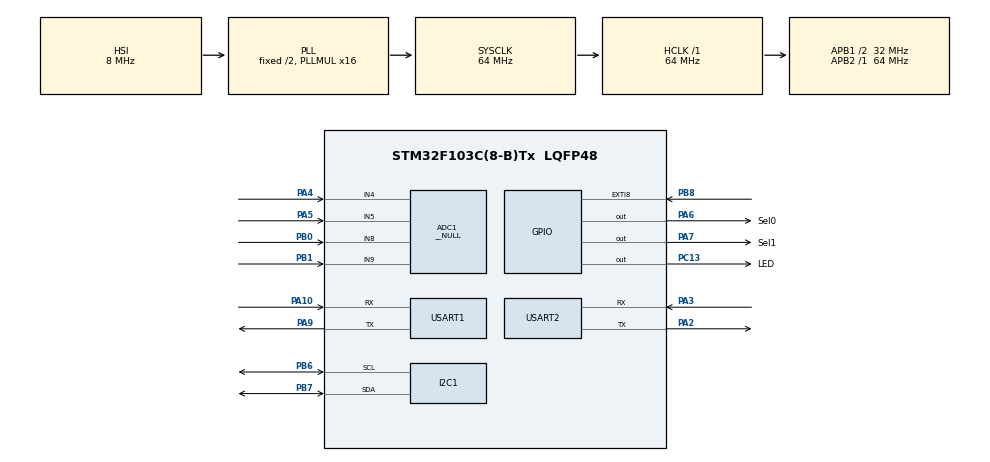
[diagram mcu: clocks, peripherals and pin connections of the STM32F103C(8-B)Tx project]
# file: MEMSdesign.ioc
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ADC1.Channel-0\#ChannelRegularConversion=ADC_CHANNEL_4
ADC1.Channel-1\#ChannelRegularConversion=ADC_CHANNEL_5
ADC1.Channel-2\#ChannelRegularConversion=ADC_CHANNEL_8
ADC1.Channel-3\#ChannelRegularConversion=ADC_CHANNEL_9
ADC1.ExternalTrigConv=ADC_EXTERNALTRIGCONV_T3_TRGO
ADC1.Mode=__NULL
ADC1.NbrOfConversion=4
ADC1.NbrOfConversionFlag=1
ADC1.Rank-0\#ChannelRegularConversion=1
ADC1.Rank-1\#ChannelRegularConversion=2
ADC1.Rank-2\#ChannelRegularConversion=3
ADC1.Rank-3\#ChannelRegularConversion=4
ADC1.SamplingTime-0\#ChannelRegularConversion=ADC_SAMPLETIME_1CYCLE_5
ADC1.SamplingTime-1\#ChannelRegularConversion=ADC_SAMPLETIME_1CYCLE_5
ADC1.SamplingTime-2\#ChannelRegularConversion=ADC_SAMPLETIME_1CYCLE_5
ADC1.SamplingTime-3\#ChannelRegularConversion=ADC_SAMPLETIME_1CYCLE_5
ADC1.master=1
Dma.ADC1.2.Direction=DMA_PERIPH_TO_MEMORY
Dma.ADC1.2.Instance=DMA1_Channel1
Dma.ADC1.2.MemDataAlignment=DMA_MDATAALIGN_HALFWORD
Dma.ADC1.2.MemInc=DMA_MINC_ENABLE
Dma.ADC1.2.Mode=DMA_NORMAL
Dma.ADC1.2.PeriphDataAlignment=DMA_PDATAALIGN_HALFWORD
Dma.ADC1.2.PeriphInc=DMA_PINC_DISABLE
Dma.ADC1.2.Priority=DMA_PRIORITY_HIGH
Dma.I2C1_RX.0.Direction=DMA_PERIPH_TO_MEMORY
Dma.I2C1_RX.0.Instance=DMA1_Channel7
Dma.I2C1_RX.0.MemDataAlignment=DMA_MDATAALIGN_BYTE
Dma.I2C1_RX.0.MemInc=DMA_MINC_ENABLE
Dma.I2C1_RX.0.Mode=DMA_NORMAL
Dma.I2C1_RX.0.PeriphDataAlignment=DMA_PDATAALIGN_BYTE
Dma.I2C1_RX.0.PeriphInc=DMA_PINC_DISABLE
Dma.I2C1_RX.0.Priority=DMA_PRIORITY_VERY_HIGH
Dma.I2C1_TX.1.Direction=DMA_MEMORY_TO_PERIPH
Dma.I2C1_TX.1.Instance=DMA1_Channel6
Dma.I2C1_TX.1.MemDataAlignment=DMA_MDATAALIGN_BYTE
Dma.I2C1_TX.1.MemInc=DMA_MINC_ENABLE
Dma.I2C1_TX.1.Mode=DMA_NORMAL
Dma.I2C1_TX.1.PeriphDataAlignment=DMA_PDATAALIGN_BYTE
Dma.I2C1_TX.1.PeriphInc=DMA_PINC_DISABLE
Dma.I2C1_TX.1.Priority=DMA_PRIORITY_VERY_HIGH
Dma.Request0=I2C1_RX
Dma.Request1=I2C1_TX
Dma.Request2=ADC1
Dma.Request3=USART1_TX
Dma.USART1_TX.3.Direction=DMA_MEMORY_TO_PERIPH
Dma.USART1_TX.3.Instance=DMA1_Channel4
Dma.USART1_TX.3.MemDataAlignment=DMA_MDATAALIGN_BYTE
Dma.USART1_TX.3.MemInc=DMA_MINC_ENABLE
Dma.USART1_TX.3.Mode=DMA_NORMAL
Dma.USART1_TX.3.PeriphDataAlignment=DMA_PDATAALIGN_BYTE
Dma.USART1_TX.3.PeriphInc=DMA_PINC_DISABLE
Dma.USART1_TX.3.Priority=DMA_PRIORITY_LOW
I2C1.I2C_Mode=I2C_Fast
I2C1.OwnAddress=0x0A
Mcu.Family=STM32F1
Mcu.Name=STM32F103C(8-B)Tx
Mcu.Package=LQFP48
NVIC.DMA1_Channel1_IRQn=true\:0\:0\:false\:false\:true\:false\:true\:true
NVIC.DMA1_Channel4_IRQn=true\:0\:0\:false\:false\:true\:false\:true\:true
NVIC.DMA1_Channel6_IRQn=true\:5\:0\:true\:false\:true\:false\:true\:true
NVIC.DMA1_Channel7_IRQn=true\:5\:0\:true\:false\:true\:false\:true\:true
NVIC.EXTI9_5_IRQn=true\:5\:0\:true\:false\:true\:true\:true\:true
NVIC.I2C1_ER_IRQn=true\:5\:0\:true\:false\:true\:true\:true\:true
NVIC.I2C1_EV_IRQn=true\:5\:0\:true\:false\:true\:true\:true\:true
NVIC.PriorityGroup=NVIC_PRIORITYGROUP_4
NVIC.TIM1_UP_IRQn=true\:0\:0\:false\:false\:true\:true\:true\:true
NVIC.USART1_IRQn=true\:0\:0\:true\:false\:true\:true\:true\:true
PA10.GPIO_PuPd=GPIO_PULLUP
PA10.Mode=Asynchronous
PA10.Signal=USART1_RX
PA2.Mode=Asynchronous
PA2.Signal=USART2_TX
PA3.Mode=Asynchronous
PA3.Signal=USART2_RX
PA4.Signal=ADCx_IN4
PA5.Signal=ADCx_IN5
PA6.GPIO_Label=Sel0
PA6.Signal=GPIO_Output
PA7.GPIO_Label=Sel1
PA7.Signal=GPIO_Output
PA9.Mode=Asynchronous
PA9.Signal=USART1_TX
PB0.Signal=ADCx_IN8
PB1.Signal=ADCx_IN9
PB6.Mode=I2C
PB6.Signal=I2C1_SCL
PB7.Mode=I2C
PB7.Signal=I2C1_SDA
PB8.Signal=GPXTI8
PC13-TAMPER-RTC.GPIO_Label=LED
PC13-TAMPER-RTC.Signal=GPIO_Output
PC14-OSC32_IN.Mode=LSE-External-Oscillator
PC14-OSC32_IN.Signal=RCC_OSC32_IN
PC15-OSC32_OUT.Mode=LSE-External-Oscillator
PC15-OSC32_OUT.Signal=RCC_OSC32_OUT
PD0-OSC_IN.Signal=RCC_OSC_IN
PD1-OSC_OUT.Signal=RCC_OSC_OUT
ProjectManager.HeapSize=0x200
ProjectManager.StackSize=0x400
ProjectManager.TargetToolchain=STM32CubeIDE
RCC.ADCPresc=RCC_ADCPCLK2_DIV6
RCC.AHBFreq_Value=64000000
RCC.APB1CLKDivider=RCC_HCLK_DIV2
RCC.APB1Freq_Value=32000000
RCC.APB1TimFreq_Value=64000000
RCC.APB2Freq_Value=64000000
RCC.APB2TimFreq_Value=64000000
RCC.HCLKFreq_Value=64000000
RCC.PLLMUL=RCC_PLL_MUL16
RCC.SYSCLKFreq_VALUE=64000000
RCC.SYSCLKSource=RCC_SYSCLKSOURCE_PLLCLK
RCC.USBFreq_Value=64000000
SH.ADCx_IN4.0=ADC1_IN4,IN4
SH.ADCx_IN5.0=ADC1_IN5,IN5
SH.ADCx_IN8.0=ADC1_IN8,IN8
SH.ADCx_IN9.0=ADC1_IN9,IN9
TIM1.AutoReloadPreload=TIM_AUTORELOAD_PRELOAD_ENABLE
TIM1.Period=199
TIM1.Prescaler=6399
TIM3.AutoReloadPreload=TIM_AUTORELOAD_PRELOAD_DISABLE
TIM3.Period=9
TIM3.Prescaler=6399
TIM3.TIM_MasterOutputTrigger=TIM_TRGO_UPDATE
USART1.VirtualMode=VM_ASYNC
USART2.VirtualMode=VM_ASYNC
VP_CRC_VS_CRC.Mode=CRC_Activate
VP_SYS_VS_ND.Mode=No_Debug
VP_TIM1_VS_ClockSourceINT.Mode=Internal
VP_TIM3_VS_ClockSourceINT.Mode=Internal
board=custom

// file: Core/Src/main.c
/* USER CODE BEGIN Header */
/**
  ******************************************************************************
  * @file           : main.c
  * @brief          : Main program body
  ******************************************************************************
  * @attention
  *
  * Copyright (c) 2025 STMicroelectronics.
  * All rights reserved.
  *
  * This software is licensed under terms that can be found in the LICENSE file
  * in the root directory of this software component.
  * If no LICENSE file comes with this software, it is provided AS-IS.
  *
  ******************************************************************************
  */
/* USER CODE END Header */
#include "main.h"
#include "adc.h"
#include "crc.h"
#include "dma.h"
#include "i2c.h"
#include "tim.h"
#include "usart.h"
#include "gpio.h"

/* USER CODE BEGIN Includes */
//#define PRINT_INSTAND_SWJ
#include "STM32F1_porting.h"
#include "mpu6050_SL.h"

#include "stdio.h"
#include "string.h"

/* mpu6050 DMP库  begin */
#include "eMPL_outputs.h"
#include "inv_mpu.h"
#include "inv_mpu_dmp_motion_driver.h"
#include "invensense.h"
#include "invensense_adv.h"
#include "log.h"
#include "mltypes.h"
#include "mpu.h"
#include "packet.h"

extern void get_ms_user(unsigned long *count); //定义在inv_mpu.c
#define get_tick_count get_ms_user
/* mpu6050 DMP库  end */

/* USER CODE END Includes */

/* USER CODE BEGIN PD */
#ifdef __GNUC__
/* With GCC, small printf (option LD Linker->Libraries->Small printf
   set to 'Yes') calls __io_putchar() */
#define PUTCHAR_PROTOTYPE int __io_putchar(int ch)
#else
#define PUTCHAR_PROTOTYPE int fputc(int ch, FILE *f)
#endif /* __GNUC__ */

/**
  * @brief  Retargets the C library printf function to the USART.
  * @param  None
  * @retval None
  */
PUTCHAR_PROTOTYPE
{
  /* Place your implementation of fputc here */
  /* e.g. write a character to the USART3 and Loop until the end of transmission */
  HAL_UART_Transmit(&huart1, (uint8_t *)&ch, 1, 0xFFFF);

  return ch;
}
/* USER CODE END PD */

/* USER CODE BEGIN PM */
/* Data read from MPL. */
#define PRINT_ACCEL (0x01)
#define PRINT_GYRO (0x02)
#define PRINT_QUAT (0x04)
#define PRINT_COMPASS (0x08)
#define PRINT_EULER (0x10)
#define PRINT_ROT_MAT (0x20)
#define PRINT_HEADING (0x40)
#define PRINT_PEDO (0x80)
#define PRINT_LINEAR_ACCEL (0x100)
#define PRINT_GRAVITY_VECTOR (0x200)

#define BYTE0(dwTemp) (*(char *)(&dwTemp))
#define BYTE1(dwTemp) (*((char *)(&dwTemp) + 1))
#define BYTE2(dwTemp) (*((char *)(&dwTemp) + 2))
#define BYTE3(dwTemp) (*((char *)(&dwTemp) + 3))

/* USER CODE END PM */

/* USER CODE BEGIN PV */
extern struct inv_sensor_cal_t sensors;
volatile uint32_t hal_timestamp = 0;

volatile int pitch = 0;
volatile int roll = 0;
volatile int yaw = 0;

uint16_t adc_buffer[4];

char data_receive[32];
uint8_t rx_buf;

uint8_t data_to_send[49];
/* USER CODE END PV */

void SystemClock_Config(void);
/* USER CODE BEGIN PFP */

void uart_receive_start()
{
	HAL_UART_Receive_IT(&huart1,&rx_buf,1);
	//hdma_rx->Instance->CCR &= ~DMA_CCR_HTIE;
}

void HAL_UART_RxCpltCallback(UART_HandleTypeDef *huart)
{
	if (huart != &huart1)
		return;
	static uint8_t uart1_rx_count = 0;
	if (uart1_rx_count >= 255)
	{
		uart1_rx_count = 0;
		memset(data_receive,0x00,sizeof(data_receive));
	}
	else
	{
		data_receive[uart1_rx_count++] = rx_buf;
		if((data_receive[uart1_rx_count - 1] == 0x0A) && (data_receive[uart1_rx_count - 2] == 0x0D))
		{
			if ((data_receive[0]=='s') && (data_receive[1]=='t') && (data_receive[2]=='a') && (data_receive[3]=='r') && (data_receive[4]=='t'))
			{
				HAL_TIM_Base_Start_IT(&htim1);
			}
			else if ((data_receive[0]=='s') && (data_receive[1]=='t') && (data_receive[2]=='o') && (data_receive[3]=='p'))
			{
				HAL_TIM_Base_Stop_IT(&htim1);
			}
			uart1_rx_count = 0;
			memset(data_receive,0x00,sizeof(data_receive));
		}

	}

	uart_receive_start();
}

/**
 * @brief  read euler angle from MPL
 */
static void read_from_mpl(void)
{
  long data[9];
  int8_t accuracy;
  unsigned long timestamp;

  if (inv_get_sensor_type_euler(data, &accuracy, (inv_time_t *)&timestamp))
  {
    pitch = data[0];
    roll = data[1];
    yaw = data[2];
  }
}

void ADC_Samp()
{
  //HAL_ADC_Start(&hadc2);
  HAL_ADC_Start_DMA(&hadc1,(uint32_t*) adc_buffer, 4);

}

void send_data()
{
	data_to_send[0] = 0xAB;
	// pitch
	for (int i = 0;i < 4; i++)
	{
		data_to_send[i+1] = (pitch >> (8*i)) & 0xFF;
	}

	// roll
	for (int i = 0;i < 4; i++)
	{
		data_to_send[i+5] = (roll >> (8*i)) & 0xFF;
	}

	// yaw
	for (int i = 0;i < 4; i++)
	{
		data_to_send[i+9] = (yaw >> (8*i)) & 0xFF;
	}

	uint32_t crc = HAL_CRC_Calculate(&hcrc,(uint32_t*)(data_to_send+1), 11);

	data_to_send[45] = crc & 0xFF;
	data_to_send[46] = (crc >> 8) & 0xFF;
	data_to_send[47] = (crc >> 16) & 0xFF;
	data_to_send[48] = (crc >> 24) & 0xFF;

	HAL_UART_Transmit_DMA(&huart1,data_to_send,49);

}

void HAL_ADC_ConvCpltCallback(ADC_HandleTypeDef *hadc)
{
	static uint8_t samp_counter = 0;
  if (hadc == &hadc1)
  {
  	switch (samp_counter)
  	{
  	  case 0:
  	    {
  	      HAL_GPIO_WritePin(Sel0_GPIO_Port,Sel0_Pin,GPIO_PIN_SET);
  	      HAL_GPIO_WritePin(Sel1_GPIO_Port,Sel1_Pin,GPIO_PIN_RESET);
  	      break;
  	    }
  	  case 1:
  	    {
  	      HAL_GPIO_WritePin(Sel0_GPIO_Port,Sel0_Pin,GPIO_PIN_RESET);
  	      HAL_GPIO_WritePin(Sel1_GPIO_Port,Sel1_Pin,GPIO_PIN_SET);
  	      break;
  	    }
  	  case 2:
  	    {
  	      HAL_GPIO_WritePin(Sel0_GPIO_Port,Sel0_Pin,GPIO_PIN_SET);
  	      HAL_GPIO_WritePin(Sel1_GPIO_Port,Sel1_Pin,GPIO_PIN_SET);
  	      break;
  	    }
  	  case 3:
  	    {
  	      HAL_GPIO_WritePin(Sel0_GPIO_Port,Sel0_Pin,GPIO_PIN_RESET);
  	      HAL_GPIO_WritePin(Sel1_GPIO_Port,Sel1_Pin,GPIO_PIN_RESET);
  	      break;
  	    }
  	 case 4:
  	     {
           samp_counter = 0;

					//HAL_ADC_Stop(&hadc2);
  	  		HAL_ADC_Stop_DMA(&hadc1);
  	  		HAL_TIM_Base_Stop(&htim3);
  	  		send_data();

  	       return;
  	       break;
  	     }
  	  default:
  	    {
  	      HAL_GPIO_WritePin(Sel0_GPIO_Port,Sel0_Pin,GPIO_PIN_RESET);
  	      HAL_GPIO_WritePin(Sel1_GPIO_Port,Sel1_Pin,GPIO_PIN_RESET);
  	      break;
  	    }
  	}

  	data_to_send[13 + samp_counter * 8] = (adc_buffer[0]) & 0xFF;
  	data_to_send[14 + samp_counter * 8] = (adc_buffer[0] >> 8) & 0xFF;
  	data_to_send[15 + samp_counter * 8] = (adc_buffer[1]) & 0xFF;
  	data_to_send[16 + samp_counter * 8] = (adc_buffer[1] >> 8) & 0xFF;

  	data_to_send[17 + samp_counter * 8] = (adc_buffer[2]) & 0xFF;
  	data_to_send[18 + samp_counter * 8] = (adc_buffer[2] >> 8) & 0xFF;
  	data_to_send[19 + samp_counter * 8] = (adc_buffer[3]) & 0xFF;
  	data_to_send[20 + samp_counter * 8] = (adc_buffer[3] >> 8) & 0xFF;

//  	uint16_t data_0 = adc_buffer[0]& 0xFFFF;
//		uint16_t data_1 = (adc_buffer[0] >> 16) & 0xFFFF;
//  	uint16_t data_2 = adc_buffer[1]& 0xFFFF;
//  	uint16_t data_3 = (adc_buffer[1] >> 16) & 0xFFFF;
//
//  	printf("%x %X %X %X\r\n",data_0,data_1,data_2,data_3);

    samp_counter++;
  }
}
void HAL_TIM_PeriodElapsedCallback(TIM_HandleTypeDef *htim)
{
  if (htim == &htim1) {
  	HAL_GPIO_WritePin(LED_GPIO_Port,LED_Pin,GPIO_PIN_SET);
  	ADC_Samp();
  	HAL_TIM_Base_Start(&htim3);
    //		int p = pitch >> 16;
    //		int r = roll >> 16;
    //		int y = yaw >> 16;
    //	  printf ("pitch: %d\t roll: %d\t yaw: %d\t\r\n", p,r,y);
  }
}

/* USER CODE END PFP */

int main(void)
{

  /* MCU Configuration--------------------------------------------------------*/

  /* Reset of all peripherals, Initializes the Flash interface and the Systick. */
  HAL_Init();

  /* Configure the system clock */
  SystemClock_Config();

  /* Initialize all configured peripherals */
  MX_GPIO_Init();
  MX_DMA_Init();
  MX_I2C1_Init();
  MX_USART1_UART_Init();
  MX_ADC1_Init();
  MX_TIM1_Init();
  MX_TIM3_Init();
  MX_USART2_UART_Init();
  MX_CRC_Init();
  /* USER CODE BEGIN 2 */
  HAL_ADCEx_Calibration_Start(&hadc1);
  //HAL_ADCEx_Calibration_Start(&hadc2);
  MPU6050_mpu_init();
  MPU6050_mpl_init();
  MPU6050_config();
  HAL_GPIO_WritePin(Sel0_GPIO_Port,Sel0_Pin,GPIO_PIN_RESET);
  HAL_GPIO_WritePin(Sel1_GPIO_Port,Sel1_Pin,GPIO_PIN_RESET);
	uart_receive_start();
  /* USER CODE END 2 */

  /* Infinite loop */
  /* USER CODE BEGIN WHILE */
  while (1)
  { unsigned long sensor_timestamp;
    int new_data = 0;
    if (!hal.sensors || !hal.new_gyro)
    {
      continue;
    }
    if (hal.new_gyro && hal.dmp_on)
        {
            short gyro[3], accel_short[3], sensors;
            unsigned char more;
            long  quat[4];
            dmp_read_fifo(gyro, accel_short, quat, &sensor_timestamp, &sensors, &more);
            if (!more)
                hal.new_gyro = 0;
            if (sensors & INV_XYZ_GYRO)
            {
                /* Push the new data to the MPL. */
                inv_build_gyro(gyro, sensor_timestamp);
                new_data = 1;

            }
        }

        if (new_data)
        {
            inv_execute_on_data();
            read_from_mpl();
        }

    /* USER CODE END WHILE */

  }
}

void SystemClock_Config(void)
{
  RCC_OscInitTypeDef RCC_OscInitStruct = {0};
  RCC_ClkInitTypeDef RCC_ClkInitStruct = {0};
  RCC_PeriphCLKInitTypeDef PeriphClkInit = {0};

  /** Initializes the RCC Oscillators according to the specified parameters
  * in the RCC_OscInitTypeDef structure.
  */
  RCC_OscInitStruct.OscillatorType = RCC_OSCILLATORTYPE_HSI;
  RCC_OscInitStruct.HSIState = RCC_HSI_ON;
  RCC_OscInitStruct.HSICalibrationValue = RCC_HSICALIBRATION_DEFAULT;
  RCC_OscInitStruct.PLL.PLLState = RCC_PLL_ON;
  RCC_OscInitStruct.PLL.PLLSource = RCC_PLLSOURCE_HSI_DIV2;
  RCC_OscInitStruct.PLL.PLLMUL = RCC_PLL_MUL16;
  if (HAL_RCC_OscConfig(&RCC_OscInitStruct) != HAL_OK)
  {
    Error_Handler();
  }

  /** Initializes the CPU, AHB and APB buses clocks
  */
  RCC_ClkInitStruct.ClockType = RCC_CLOCKTYPE_HCLK|RCC_CLOCKTYPE_SYSCLK
                              |RCC_CLOCKTYPE_PCLK1|RCC_CLOCKTYPE_PCLK2;
  RCC_ClkInitStruct.SYSCLKSource = RCC_SYSCLKSOURCE_PLLCLK;
  RCC_ClkInitStruct.AHBCLKDivider = RCC_SYSCLK_DIV1;
  RCC_ClkInitStruct.APB1CLKDivider = RCC_HCLK_DIV2;
  RCC_ClkInitStruct.APB2CLKDivider = RCC_HCLK_DIV1;

  if (HAL_RCC_ClockConfig(&RCC_ClkInitStruct, FLASH_LATENCY_2) != HAL_OK)
  {
    Error_Handler();
  }
  PeriphClkInit.PeriphClockSelection = RCC_PERIPHCLK_ADC;
  PeriphClkInit.AdcClockSelection = RCC_ADCPCLK2_DIV6;
  if (HAL_RCCEx_PeriphCLKConfig(&PeriphClkInit) != HAL_OK)
  {
    Error_Handler();
  }
}

void Error_Handler(void)
{
  __disable_irq();
  while (1)
  {
  }
}
